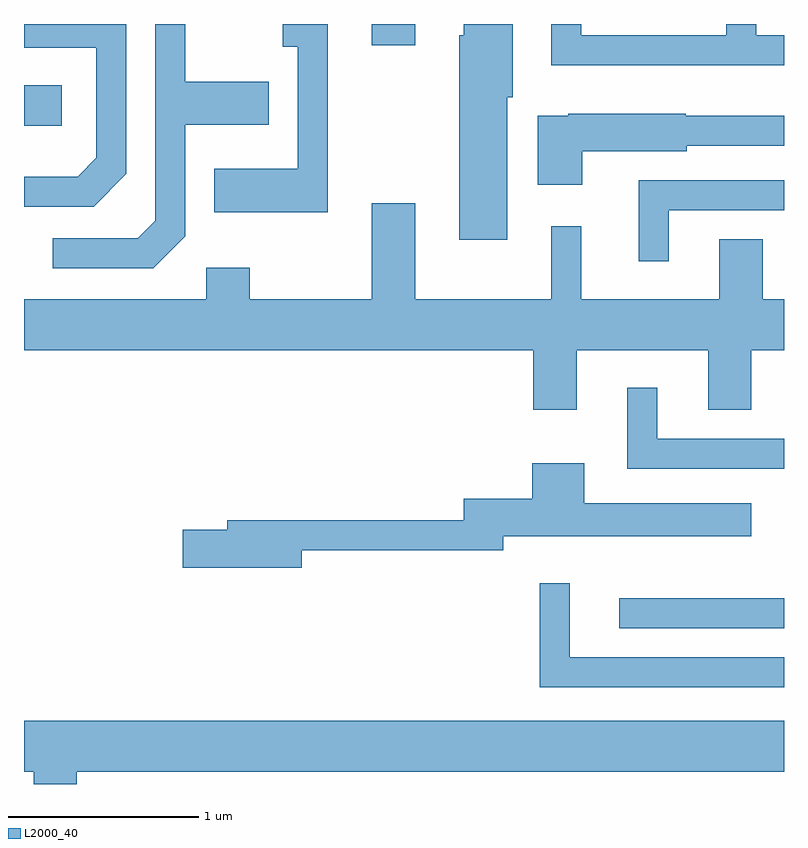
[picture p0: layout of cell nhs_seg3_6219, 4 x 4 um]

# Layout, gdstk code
import gdstk
lib = gdstk.Library(unit=1e-6, precision=1e-09)
def R(c, l, rs):  # rectangles x0, y0, x1, y1
    for r in rs: c.add(gdstk.rectangle(r[:2], r[2:], *l))
def P(c, l, *ps):  # polygons
    for p in ps: c.add(gdstk.Polygon(p, *l))
L2000_40 = (2000, 40)

nhs_seg3_6219 = lib.new_cell('nhs_seg3_6219')
R(nhs_seg3_6219, L2000_40, [(370.743,1186.711,371.611,1186.869), (367.611,1189.356,367.809,1189.569), (369.441,1189.781,369.669,1189.892)])
P(nhs_seg3_6219, L2000_40, [(368.149,1189.104),(368.149,1189.892),(367.611,1189.892),(367.611,1189.766),(367.991,1189.766),(367.991,1189.187),(367.894,1189.089),(367.611,1189.089),(367.611,1188.931),(367.977,1188.931)],
  [(369.209,1189.892),(368.973,1189.892),(368.973,1189.771),(369.051,1189.771),(369.051,1189.129),(368.611,1189.129),(368.611,1188.901),(369.209,1188.901)],
  [(368.459,1188.774),(368.459,1189.361),(368.899,1189.361),(368.899,1189.589),(368.459,1189.589),(368.459,1189.892),(368.301,1189.892),(368.301,1188.857),(368.209,1188.764),(367.763,1188.764),(367.763,1188.606),(368.292,1188.606)],
  [(371.611,1189.834),(371.464,1189.834),(371.464,1189.892),(371.306,1189.892),(371.306,1189.834),(370.544,1189.834),(370.544,1189.892),(370.386,1189.892),(370.386,1189.676),(371.611,1189.676)],
  [(370.154,1189.506),(370.184,1189.506),(370.184,1189.892),(369.926,1189.892),(369.926,1189.834),(369.901,1189.834),(369.901,1188.756),(370.154,1188.756)],
  [(370.549,1189.221),(371.099,1189.221),(371.099,1189.251),(371.611,1189.251),(371.611,1189.409),(371.095,1189.409),(371.095,1189.419),(370.475,1189.419),(370.475,1189.409),(370.316,1189.409),(370.316,1189.046),(370.549,1189.046)],
  [(371.004,1188.911),(371.611,1188.911),(371.611,1189.069),(370.846,1189.069),(370.846,1188.643),(371.004,1188.643)],
  [(370.519,1188.176),(371.211,1188.176),(371.211,1187.861),(371.439,1187.861),(371.439,1188.176),(371.611,1188.176),(371.611,1188.444),(371.499,1188.444),(371.499,1188.759),(371.271,1188.759),(371.271,1188.444),(370.544,1188.444),(370.544,1188.828),(370.386,1188.828),(370.386,1188.444),(369.669,1188.444),(369.669,1188.949),(369.441,1188.949),(369.441,1188.444),(368.799,1188.444),(368.799,1188.609),(368.571,1188.609),(368.571,1188.444),(367.611,1188.444),(367.611,1188.176),(370.291,1188.176),(370.291,1187.861),(370.519,1187.861)],
  [(371.611,1187.709),(370.944,1187.709),(370.944,1187.978),(370.786,1187.978),(370.786,1187.551),(371.611,1187.551)],
  [(369.074,1187.121),(370.134,1187.121),(370.134,1187.196),(371.439,1187.196),(371.439,1187.369),(370.559,1187.369),(370.559,1187.579),(370.286,1187.579),(370.286,1187.394),(369.926,1187.394),(369.926,1187.279),(368.681,1187.279),(368.681,1187.229),(368.446,1187.229),(368.446,1187.031),(369.074,1187.031)],
  [(371.611,1186.559),(370.484,1186.559),(370.484,1186.948),(370.326,1186.948),(370.326,1186.401),(371.611,1186.401)],
  [(367.889,1185.956),(371.611,1185.956),(371.611,1186.224),(367.611,1186.224),(367.611,1185.956),(367.661,1185.956),(367.661,1185.892),(367.889,1185.892)])

lib.write_gds('nhs_seg3_6219.gds')
